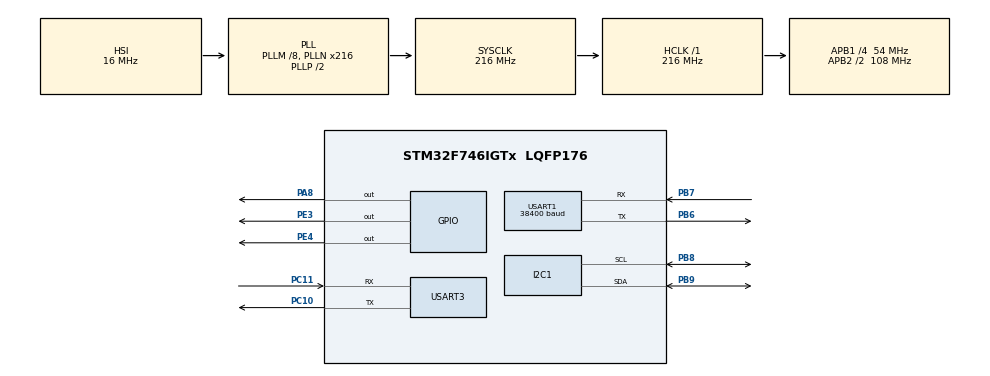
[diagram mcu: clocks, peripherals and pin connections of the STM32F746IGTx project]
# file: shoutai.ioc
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I2C1.Timing=0x20404768
Mcu.Family=STM32F7
Mcu.Name=STM32F746IGTx
Mcu.Package=LQFP176
NVIC.PriorityGroup=NVIC_PRIORITYGROUP_4
NVIC.TIM2_IRQn=true\:0\:0\:false\:false\:true\:true
NVIC.USART1_IRQn=true\:0\:0\:false\:false\:true\:true
NVIC.USART3_IRQn=true\:0\:0\:true\:false\:true\:true
PA13.Mode=Serial_Wire
PA13.Signal=SYS_JTMS-SWDIO
PA14.Mode=Serial_Wire
PA14.Signal=SYS_JTCK-SWCLK
PA8.Signal=GPIO_Output
PB6.Mode=Asynchronous
PB6.Signal=USART1_TX
PB7.Mode=Asynchronous
PB7.Signal=USART1_RX
PB8.Mode=I2C
PB8.Signal=I2C1_SCL
PB9.Mode=I2C
PB9.Signal=I2C1_SDA
PC10.Mode=Asynchronous
PC10.Signal=USART3_TX
PC11.Mode=Asynchronous
PC11.Signal=USART3_RX
PE3.Signal=GPIO_Output
PE4.Signal=GPIO_Output
PH0/OSC_IN.Mode=HSE-External-Clock-Source
PH0/OSC_IN.Signal=RCC_OSC_IN
PH1/OSC_OUT.Mode=HSE-External-Clock-Source
PH1/OSC_OUT.Signal=RCC_OSC_OUT
ProjectManager.HeapSize=0x200
ProjectManager.StackSize=0x400
ProjectManager.TargetToolchain=EWARM V7
RCC.AHBFreq_Value=216000000
RCC.APB1CLKDivider=RCC_HCLK_DIV4
RCC.APB1Freq_Value=54000000
RCC.APB1TimFreq_Value=108000000
RCC.APB2CLKDivider=RCC_HCLK_DIV2
RCC.APB2Freq_Value=108000000
RCC.APB2TimFreq_Value=216000000
RCC.CortexFreq_Value=216000000
RCC.HCLKFreq_Value=216000000
RCC.HSE_VALUE=8000000
RCC.HSI_VALUE=16000000
RCC.LSE_VALUE=32768
RCC.PLLM=8
RCC.PLLN=216
RCC.SYSCLKFreq_VALUE=216000000
RCC.SYSCLKSource=RCC_SYSCLKSOURCE_PLLCLK
RCC.USBFreq_Value=216000000
RCC.VCOOutputFreq_Value=432000000
TIM2.Period=1000-1
TIM2.Prescaler=108-1
USART1.BaudRate=38400
USART1.VirtualMode-Asynchronous=VM_ASYNC
USART3.VirtualMode-Asynchronous=VM_ASYNC
VP_TIM2_VS_ClockSourceINT.Mode=Internal
board=custom

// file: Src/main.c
/**
  ******************************************************************************
  * @file           : main.c
  * @brief          : Main program body
  ******************************************************************************
  ** This notice applies to any and all portions of this file
  * that are not between comment pairs USER CODE BEGIN and
  * USER CODE END. Other portions of this file, whether
  * inserted by the user or by software development tools
  * are owned by their respective copyright owners.
  *
  * COPYRIGHT(c) 2018 STMicroelectronics
  *
  * Redistribution and use in source and binary forms, with or without modification,
  * are permitted provided that the following conditions are met:
  *   1. Redistributions of source code must retain the above copyright notice,
  *      this list of conditions and the following disclaimer.
  *   2. Redistributions in binary form must reproduce the above copyright notice,
  *      this list of conditions and the following disclaimer in the documentation
  *      and/or other materials provided with the distribution.
  *   3. Neither the name of STMicroelectronics nor the names of its contributors
  *      may be used to endorse or promote products derived from this software
  *      without specific prior written permission.
  *
  * THIS SOFTWARE IS PROVIDED BY THE COPYRIGHT HOLDERS AND CONTRIBUTORS "AS IS"
  * AND ANY EXPRESS OR IMPLIED WARRANTIES, INCLUDING, BUT NOT LIMITED TO, THE
  * IMPLIED WARRANTIES OF MERCHANTABILITY AND FITNESS FOR A PARTICULAR PURPOSE ARE
  * DISCLAIMED. IN NO EVENT SHALL THE COPYRIGHT HOLDER OR CONTRIBUTORS BE LIABLE
  * FOR ANY DIRECT, INDIRECT, INCIDENTAL, SPECIAL, EXEMPLARY, OR CONSEQUENTIAL
  * DAMAGES (INCLUDING, BUT NOT LIMITED TO, PROCUREMENT OF SUBSTITUTE GOODS OR
  * SERVICES; LOSS OF USE, DATA, OR PROFITS; OR BUSINESS INTERRUPTION) HOWEVER
  * CAUSED AND ON ANY THEORY OF LIABILITY, WHETHER IN CONTRACT, STRICT LIABILITY,
  * OR TORT (INCLUDING NEGLIGENCE OR OTHERWISE) ARISING IN ANY WAY OUT OF THE USE
  * OF THIS SOFTWARE, EVEN IF ADVISED OF THE POSSIBILITY OF SUCH DAMAGE.
  *
  ******************************************************************************
  */
#include "main.h"
#include "stm32f7xx_hal.h"
#include "i2c.h"
#include "tim.h"
#include "usart.h"
#include "gpio.h"

/* USER CODE BEGIN Includes */
#include <stdio.h>
#include <string.h>
/* USER CODE END Includes */

/* USER CODE BEGIN PV */
/* Private variables ---------------------------------------------------------*/

/* USER CODE END PV */

void SystemClock_Config(void);

/* USER CODE BEGIN PFP */
/* Private function prototypes -----------------------------------------------*/

/* USER CODE END PFP */

/* USER CODE BEGIN 0 */
void HM_TRP_RX_Init(void);
void HM_TRP_TX_Init(void);
uint8_t   Com1_Rxbuff[1024];  //串口接收数组
uint16_t  Com1_Counter=0;     //接收计数
uint16_t  Com1_TxCounter=0;   //发送计数
uint8_t   Com2_Rxbuff[1024];  //串口接收数组
uint16_t  Com2_Counter=0;     //接收计数
uint16_t  Com2_TxCounter=0;   //发送计数
uint8_t   Com3_Rxbuff[1024];  //串口接收数组
uint16_t  Com3_Counter=0;     //接收计数
uint16_t  Com3_TxCounter=0;   //发送计数
uint8_t   Com4_Rxbuff[1024];  //串口接收数组
uint16_t  Com4_Counter=0;     //接收计数
uint16_t  Com4_TxCounter=0;   //发送计数
uint8_t aRxStartMessages_1[1];
uint8_t aRxStartMessages_2[1];
uint8_t aRxStartMessages_3[1];
uint8_t aRxStartMessages_4[1];
uint8_t config[]={0xAA,0xFA,0x87};
uint8_t set_uart_speed[]={0xAA,0xFA,0x1E,0x00,0x00,0x96,0x00};//设置电台串口波特率为38400
uint8_t set_send_speed[]={0xAA,0xFA,0xC3,0x00,0x01,0xC2,0x00};//设置无线传输数率为115200
uint8_t set_rank_915[]={0xAA,0xFA,0xD2,0x36,0x89,0xCA,0xC0};//设置工作频率为915000000HZ
uint8_t set_rank_434[]={0xAA,0xFA,0xD2,0x19,0xDE,0x50,0x80};//设置工作频率为434000000HZ
uint8_t read_config[]={0xAA,0xFA,0xE1};
uint8_t reset[]={0xAA,0xFA,0xF0};

int fputc(int ch, FILE *f)
{
  HAL_UART_Transmit(&huart3, (uint8_t *)&ch, 1, 0xffff);
  return ch;
}

/* USER CODE END 0 */

int main(void)
{

  /* MCU Configuration----------------------------------------------------------*/

  /* Reset of all peripherals, Initializes the Flash interface and the Systick. */
  HAL_Init();

  /* Configure the system clock */
  SystemClock_Config();

  /* Initialize all configured peripherals */
  MX_GPIO_Init();
  MX_USART1_UART_Init();
  MX_USART3_UART_Init();
  MX_I2C1_Init();
  MX_TIM2_Init();
  /* USER CODE BEGIN 2 */
  HAL_UART_Receive_IT(&huart1 ,(uint8_t*)aRxStartMessages_1,1);  //使能UART接收
  HAL_UART_Receive_IT(&huart3 ,(uint8_t*)aRxStartMessages_3,1);  //使能UART接收
  HM_TRP_RX_Init();
 // HAL_GPIO_WritePin(GPIOA, GPIO_PIN_8, GPIO_PIN_RESET); //电台2进入配置模式
  char test[1]={0xFF};
  int i=0;
  printf("test");
  /* USER CODE END 2 */

  /* Infinite loop */
  /* USER CODE BEGIN WHILE */
  while (1)
  {
  //  HAL_UART_Transmit_IT(&huart1 ,reset,sizeof(reset));
   //  HAL_Delay(500);
   // HAL_UART_Transmit_IT(&huart1 ,read_config,sizeof(read_config));
        HAL_Delay(2000);

    if(Com1_Counter>0)
     {
      for(i=0;i<Com1_Counter;i++)
       printf("%02X ",Com1_Rxbuff[i]);
       memset(Com1_Rxbuff,0,Com1_Counter);
      printf("\r\n");
      Com1_Counter=0;
     }

  /* USER CODE END WHILE */

  }

}

void SystemClock_Config(void)
{

  RCC_OscInitTypeDef RCC_OscInitStruct;
  RCC_ClkInitTypeDef RCC_ClkInitStruct;
  RCC_PeriphCLKInitTypeDef PeriphClkInitStruct;

    /**Configure the main internal regulator output voltage
    */
  __HAL_RCC_PWR_CLK_ENABLE();

  __HAL_PWR_VOLTAGESCALING_CONFIG(PWR_REGULATOR_VOLTAGE_SCALE1);

    /**Initializes the CPU, AHB and APB busses clocks
    */
  RCC_OscInitStruct.OscillatorType = RCC_OSCILLATORTYPE_HSI;
  RCC_OscInitStruct.HSIState = RCC_HSI_ON;
  RCC_OscInitStruct.HSICalibrationValue = 16;
  RCC_OscInitStruct.PLL.PLLState = RCC_PLL_ON;
  RCC_OscInitStruct.PLL.PLLSource = RCC_PLLSOURCE_HSI;
  RCC_OscInitStruct.PLL.PLLM = 8;
  RCC_OscInitStruct.PLL.PLLN = 216;
  RCC_OscInitStruct.PLL.PLLP = RCC_PLLP_DIV2;
  RCC_OscInitStruct.PLL.PLLQ = 2;
  if (HAL_RCC_OscConfig(&RCC_OscInitStruct) != HAL_OK)
  {
    _Error_Handler(__FILE__, __LINE__);
  }

    /**Activate the Over-Drive mode
    */
  if (HAL_PWREx_EnableOverDrive() != HAL_OK)
  {
    _Error_Handler(__FILE__, __LINE__);
  }

    /**Initializes the CPU, AHB and APB busses clocks
    */
  RCC_ClkInitStruct.ClockType = RCC_CLOCKTYPE_HCLK|RCC_CLOCKTYPE_SYSCLK
                              |RCC_CLOCKTYPE_PCLK1|RCC_CLOCKTYPE_PCLK2;
  RCC_ClkInitStruct.SYSCLKSource = RCC_SYSCLKSOURCE_PLLCLK;
  RCC_ClkInitStruct.AHBCLKDivider = RCC_SYSCLK_DIV1;
  RCC_ClkInitStruct.APB1CLKDivider = RCC_HCLK_DIV4;
  RCC_ClkInitStruct.APB2CLKDivider = RCC_HCLK_DIV2;

  if (HAL_RCC_ClockConfig(&RCC_ClkInitStruct, FLASH_LATENCY_7) != HAL_OK)
  {
    _Error_Handler(__FILE__, __LINE__);
  }

  PeriphClkInitStruct.PeriphClockSelection = RCC_PERIPHCLK_USART1|RCC_PERIPHCLK_USART3
                              |RCC_PERIPHCLK_I2C1;
  PeriphClkInitStruct.Usart1ClockSelection = RCC_USART1CLKSOURCE_PCLK2;
  PeriphClkInitStruct.Usart3ClockSelection = RCC_USART3CLKSOURCE_PCLK1;
  PeriphClkInitStruct.I2c1ClockSelection = RCC_I2C1CLKSOURCE_PCLK1;
  if (HAL_RCCEx_PeriphCLKConfig(&PeriphClkInitStruct) != HAL_OK)
  {
    _Error_Handler(__FILE__, __LINE__);
  }

    /**Configure the Systick interrupt time
    */
  HAL_SYSTICK_Config(HAL_RCC_GetHCLKFreq()/1000);

    /**Configure the Systick
    */
  HAL_SYSTICK_CLKSourceConfig(SYSTICK_CLKSOURCE_HCLK);

  /* SysTick_IRQn interrupt configuration */
  HAL_NVIC_SetPriority(SysTick_IRQn, 3, 0);
}

/* USER CODE BEGIN 4 */
/*******************************************************
function:  HAL_UART_RxCpltCallback UART接收回调函数
input parameter:			 串口号
output parameter:			 无
*******************************************************/
void HAL_UART_RxCpltCallback(UART_HandleTypeDef *huart)
{
   UNUSED(huart);

	if(huart == (&huart1))
	{
	  HAL_UART_Receive_IT(&huart1 ,(uint8_t*)aRxStartMessages_1,1);
          Com1_Rxbuff[Com1_Counter++] = aRxStartMessages_1[0];
    if(Com1_Counter==0xffff)
	  {
		 Com1_Counter = 0;
	  }
	}
          if(huart == (&huart3))
	{
	  HAL_UART_Receive_IT(&huart3 ,(uint8_t*)aRxStartMessages_3,1);
          Com3_Rxbuff[Com3_Counter++] = aRxStartMessages_3[0];
    if(Com3_Counter==0xffff)
	  {
		 Com3_Counter = 0;
	  }
	}
}

void HM_TRP_TX_Init(void)
{
    HAL_GPIO_WritePin(GPIOA, GPIO_PIN_8, GPIO_PIN_RESET);//config引脚拉低，进入配置模式
    HAL_Delay(10);
    HAL_UART_Transmit_IT(&huart1 ,set_rank_915,sizeof(set_rank_915));//配置电台1无线传输数率
    HAL_GPIO_WritePin(GPIOA, GPIO_PIN_8, GPIO_PIN_SET);//config引脚拉高，进入工作模式
    HAL_Delay(50);
}

void HM_TRP_RX_Init(void)
{

  HAL_GPIO_WritePin(GPIOA, GPIO_PIN_8, GPIO_PIN_RESET);//config引脚拉低，进入配置模式
    HAL_Delay(10);
    HAL_UART_Transmit_IT(&huart1 ,set_rank_434,sizeof(set_rank_434));//配置电台1无线传输数率
    HAL_GPIO_WritePin(GPIOA, GPIO_PIN_8, GPIO_PIN_SET);//config引脚拉高，进入工作模式
    HAL_Delay(50);
}
/* USER CODE END 4 */

void _Error_Handler(char *file, int line)
{
  while(1)
  {
  }
}

/************************ (C) COPYRIGHT STMicroelectronics *****END OF FILE****/
